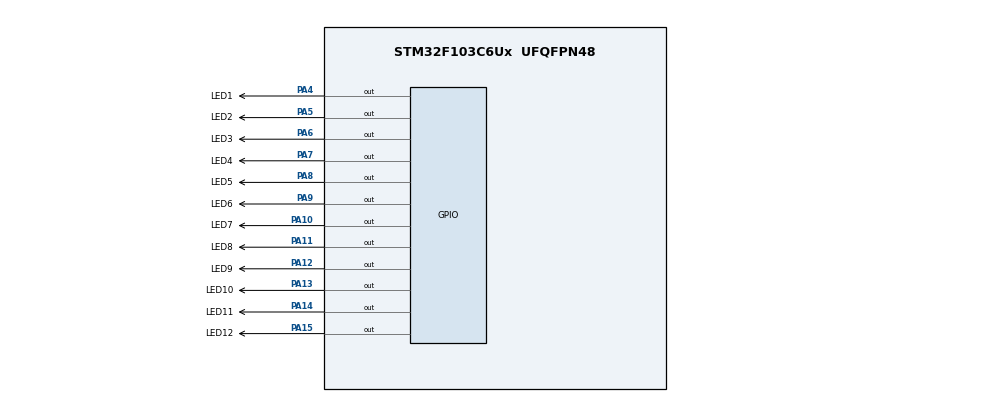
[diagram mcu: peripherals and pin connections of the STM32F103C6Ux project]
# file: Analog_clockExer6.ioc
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Mcu.Family=STM32F1
Mcu.Name=STM32F103C6Ux
Mcu.Package=UFQFPN48
NVIC.PriorityGroup=NVIC_PRIORITYGROUP_4
PA10.GPIO_Label=LED7
PA10.Signal=GPIO_Output
PA11.GPIO_Label=LED8
PA11.Signal=GPIO_Output
PA12.GPIO_Label=LED9
PA12.Signal=GPIO_Output
PA13.GPIO_Label=LED10
PA13.Signal=GPIO_Output
PA14.GPIO_Label=LED11
PA14.Signal=GPIO_Output
PA15.GPIO_Label=LED12
PA15.Signal=GPIO_Output
PA4.GPIO_Label=LED1
PA4.Signal=GPIO_Output
PA5.GPIO_Label=LED2
PA5.Signal=GPIO_Output
PA6.GPIO_Label=LED3
PA6.Signal=GPIO_Output
PA7.GPIO_Label=LED4
PA7.Signal=GPIO_Output
PA8.GPIO_Label=LED5
PA8.Signal=GPIO_Output
PA9.GPIO_Label=LED6
PA9.Signal=GPIO_Output
ProjectManager.HeapSize=0x200
ProjectManager.StackSize=0x400
ProjectManager.TargetToolchain=STM32CubeIDE
RCC.APB1Freq_Value=8000000
RCC.APB2Freq_Value=8000000
VP_SYS_VS_ND.Mode=No_Debug
board=custom

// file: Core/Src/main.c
/* USER CODE BEGIN Header */
/**
  ******************************************************************************
  * @file           : main.c
  * @brief          : Main program body
  ******************************************************************************
  * @attention
  *
  * <h2><center>&copy; Copyright (c) 2025 STMicroelectronics.
  * All rights reserved.</center></h2>
  *
  * This software component is licensed by ST under BSD 3-Clause license,
  * the "License"; You may not use this file except in compliance with the
  * License. You may obtain a copy of the License at:
  *                        opensource.org/licenses/BSD-3-Clause
  *
  ******************************************************************************
  */
/* USER CODE END Header */
#include "main.h"

void SystemClock_Config(void);
static void MX_GPIO_Init(void);

int main(void)
{
  /* USER CODE BEGIN 1 */
	void clearAllclock(){
		  HAL_GPIO_WritePin(LED1_GPIO_Port, LED1_Pin, GPIO_PIN_SET);
		  HAL_GPIO_WritePin(LED2_GPIO_Port, LED2_Pin, GPIO_PIN_SET);
		  HAL_GPIO_WritePin(LED3_GPIO_Port, LED3_Pin, GPIO_PIN_SET);
		  HAL_GPIO_WritePin(LED4_GPIO_Port, LED4_Pin, GPIO_PIN_SET);
		  HAL_GPIO_WritePin(LED5_GPIO_Port, LED5_Pin, GPIO_PIN_SET);
		  HAL_GPIO_WritePin(LED6_GPIO_Port, LED6_Pin, GPIO_PIN_SET);
		  HAL_GPIO_WritePin(LED7_GPIO_Port, LED7_Pin, GPIO_PIN_SET);
		  HAL_GPIO_WritePin(LED8_GPIO_Port, LED8_Pin, GPIO_PIN_SET);
		  HAL_GPIO_WritePin(LED9_GPIO_Port, LED9_Pin, GPIO_PIN_SET);
		  HAL_GPIO_WritePin(LED10_GPIO_Port, LED10_Pin, GPIO_PIN_SET);
		  HAL_GPIO_WritePin(LED11_GPIO_Port, LED11_Pin, GPIO_PIN_SET);
		  HAL_GPIO_WritePin(LED12_GPIO_Port, LED12_Pin, GPIO_PIN_SET);
	  };

	  void setNumberOnClock(int num){
		  if (num == 0) HAL_GPIO_WritePin(LED1_GPIO_Port, LED1_Pin, GPIO_PIN_RESET);
		  if (num == 1) HAL_GPIO_WritePin(LED2_GPIO_Port, LED2_Pin, GPIO_PIN_RESET);
		  if (num == 2) HAL_GPIO_WritePin(LED3_GPIO_Port, LED3_Pin, GPIO_PIN_RESET);
		  if (num == 3) HAL_GPIO_WritePin(LED4_GPIO_Port, LED4_Pin, GPIO_PIN_RESET);
		  if (num == 4) HAL_GPIO_WritePin(LED5_GPIO_Port, LED5_Pin, GPIO_PIN_RESET);
		  if (num == 5) HAL_GPIO_WritePin(LED6_GPIO_Port, LED6_Pin, GPIO_PIN_RESET);
		  if (num == 6) HAL_GPIO_WritePin(LED7_GPIO_Port, LED7_Pin, GPIO_PIN_RESET);
		  if (num == 7) HAL_GPIO_WritePin(LED8_GPIO_Port, LED8_Pin, GPIO_PIN_RESET);
		  if (num == 8) HAL_GPIO_WritePin(LED9_GPIO_Port, LED9_Pin, GPIO_PIN_RESET);
		  if (num == 9) HAL_GPIO_WritePin(LED10_GPIO_Port, LED10_Pin, GPIO_PIN_RESET);
		  if (num == 10) HAL_GPIO_WritePin(LED11_GPIO_Port, LED11_Pin, GPIO_PIN_RESET);
		  if (num == 11) HAL_GPIO_WritePin(LED12_GPIO_Port, LED12_Pin, GPIO_PIN_RESET);
	  }

	  void clearNumberOnClock(int num){
		  if (num == 0) HAL_GPIO_WritePin(LED1_GPIO_Port, LED1_Pin, GPIO_PIN_SET);
		  if (num == 1) HAL_GPIO_WritePin(LED2_GPIO_Port, LED2_Pin, GPIO_PIN_SET);
		  if (num == 2) HAL_GPIO_WritePin(LED3_GPIO_Port, LED3_Pin, GPIO_PIN_SET);
		  if (num == 3) HAL_GPIO_WritePin(LED4_GPIO_Port, LED4_Pin, GPIO_PIN_SET);
		  if (num == 4) HAL_GPIO_WritePin(LED5_GPIO_Port, LED5_Pin, GPIO_PIN_SET);
		  if (num == 5) HAL_GPIO_WritePin(LED6_GPIO_Port, LED6_Pin, GPIO_PIN_SET);
		  if (num == 6) HAL_GPIO_WritePin(LED7_GPIO_Port, LED7_Pin, GPIO_PIN_SET);
		  if (num == 7) HAL_GPIO_WritePin(LED8_GPIO_Port, LED8_Pin, GPIO_PIN_SET);
		  if (num == 8) HAL_GPIO_WritePin(LED9_GPIO_Port, LED9_Pin, GPIO_PIN_SET);
		  if (num == 9) HAL_GPIO_WritePin(LED10_GPIO_Port, LED10_Pin, GPIO_PIN_SET);
		  if (num == 10) HAL_GPIO_WritePin(LED11_GPIO_Port, LED11_Pin, GPIO_PIN_SET);
		  if (num == 11) HAL_GPIO_WritePin(LED12_GPIO_Port, LED12_Pin, GPIO_PIN_SET);
	  }
  /* USER CODE END 1 */

  /* MCU Configuration--------------------------------------------------------*/

  /* Reset of all peripherals, Initializes the Flash interface and the Systick. */
  HAL_Init();

  /* Configure the system clock */
  SystemClock_Config();

  /* Initialize all configured peripherals */
  MX_GPIO_Init();
  /* USER CODE BEGIN 2 */
  HAL_GPIO_WritePin(LED1_GPIO_Port, LED1_Pin, GPIO_PIN_SET);
  HAL_GPIO_WritePin(LED2_GPIO_Port, LED2_Pin, GPIO_PIN_SET);
  HAL_GPIO_WritePin(LED3_GPIO_Port, LED3_Pin, GPIO_PIN_SET);
  HAL_GPIO_WritePin(LED4_GPIO_Port, LED4_Pin, GPIO_PIN_SET);
  HAL_GPIO_WritePin(LED5_GPIO_Port, LED5_Pin, GPIO_PIN_SET);
  HAL_GPIO_WritePin(LED6_GPIO_Port, LED6_Pin, GPIO_PIN_SET);
  HAL_GPIO_WritePin(LED7_GPIO_Port, LED7_Pin, GPIO_PIN_SET);
  HAL_GPIO_WritePin(LED8_GPIO_Port, LED8_Pin, GPIO_PIN_SET);
  HAL_GPIO_WritePin(LED9_GPIO_Port, LED9_Pin, GPIO_PIN_SET);
  HAL_GPIO_WritePin(LED10_GPIO_Port, LED10_Pin, GPIO_PIN_SET);
  HAL_GPIO_WritePin(LED11_GPIO_Port, LED11_Pin, GPIO_PIN_SET);
  HAL_GPIO_WritePin(LED12_GPIO_Port, LED12_Pin, GPIO_PIN_SET);
  /* USER CODE END 2 */

  /* Infinite loop */
  while (1)
  {
	 for (int i = 0; i <= 11; i++){
		 setNumberOnClock(i);
		 HAL_Delay(1000);
	 }

  }
}

void SystemClock_Config(void)
{
  RCC_OscInitTypeDef RCC_OscInitStruct = {0};
  RCC_ClkInitTypeDef RCC_ClkInitStruct = {0};

  /** Initializes the RCC Oscillators according to the specified parameters
  * in the RCC_OscInitTypeDef structure.
  */
  RCC_OscInitStruct.OscillatorType = RCC_OSCILLATORTYPE_HSI;
  RCC_OscInitStruct.HSIState = RCC_HSI_ON;
  RCC_OscInitStruct.HSICalibrationValue = RCC_HSICALIBRATION_DEFAULT;
  RCC_OscInitStruct.PLL.PLLState = RCC_PLL_NONE;
  if (HAL_RCC_OscConfig(&RCC_OscInitStruct) != HAL_OK)
  {
    Error_Handler();
  }
  /** Initializes the CPU, AHB and APB buses clocks
  */
  RCC_ClkInitStruct.ClockType = RCC_CLOCKTYPE_HCLK|RCC_CLOCKTYPE_SYSCLK
                              |RCC_CLOCKTYPE_PCLK1|RCC_CLOCKTYPE_PCLK2;
  RCC_ClkInitStruct.SYSCLKSource = RCC_SYSCLKSOURCE_HSI;
  RCC_ClkInitStruct.AHBCLKDivider = RCC_SYSCLK_DIV1;
  RCC_ClkInitStruct.APB1CLKDivider = RCC_HCLK_DIV1;
  RCC_ClkInitStruct.APB2CLKDivider = RCC_HCLK_DIV1;

  if (HAL_RCC_ClockConfig(&RCC_ClkInitStruct, FLASH_LATENCY_0) != HAL_OK)
  {
    Error_Handler();
  }
}

static void MX_GPIO_Init(void)
{
  GPIO_InitTypeDef GPIO_InitStruct = {0};

  /* GPIO Ports Clock Enable */
  __HAL_RCC_GPIOA_CLK_ENABLE();

  /*Configure GPIO pin Output Level */
  HAL_GPIO_WritePin(GPIOA, LED1_Pin|LED2_Pin|LED3_Pin|LED4_Pin
                          |LED5_Pin|LED6_Pin|LED7_Pin|LED8_Pin
                          |LED9_Pin|LED10_Pin|LED11_Pin|LED12_Pin, GPIO_PIN_RESET);

  /*Configure GPIO pins : LED1_Pin LED2_Pin LED3_Pin LED4_Pin
                           LED5_Pin LED6_Pin LED7_Pin LED8_Pin
                           LED9_Pin LED10_Pin LED11_Pin LED12_Pin */
  GPIO_InitStruct.Pin = LED1_Pin|LED2_Pin|LED3_Pin|LED4_Pin
                          |LED5_Pin|LED6_Pin|LED7_Pin|LED8_Pin
                          |LED9_Pin|LED10_Pin|LED11_Pin|LED12_Pin;
  GPIO_InitStruct.Mode = GPIO_MODE_OUTPUT_PP;
  GPIO_InitStruct.Pull = GPIO_NOPULL;
  GPIO_InitStruct.Speed = GPIO_SPEED_FREQ_LOW;
  HAL_GPIO_Init(GPIOA, &GPIO_InitStruct);

}

void Error_Handler(void)
{
  __disable_irq();
  while (1)
  {
  }
}

/************************ (C) COPYRIGHT STMicroelectronics *****END OF FILE****/
